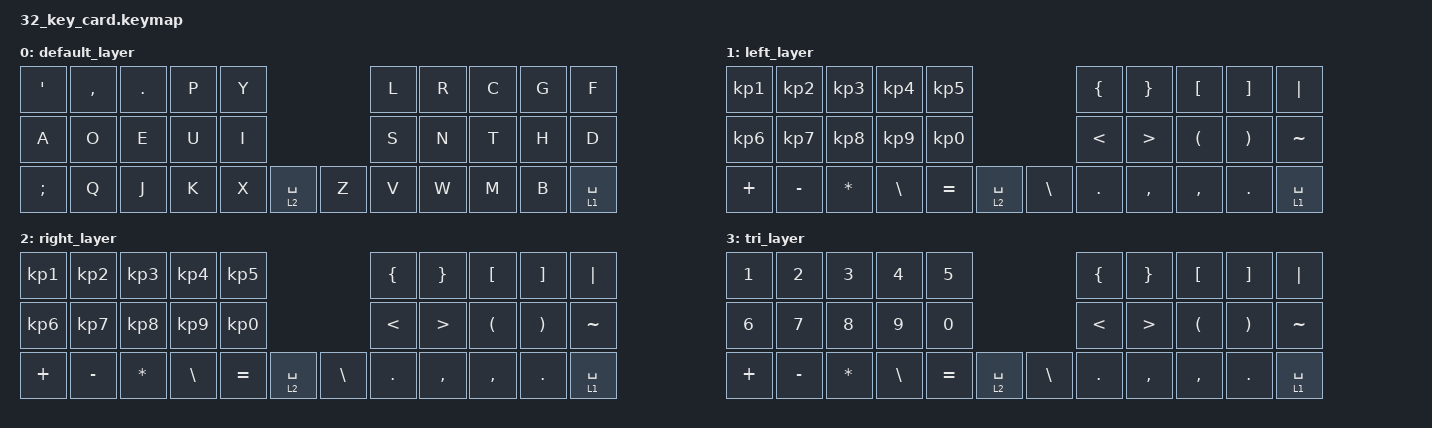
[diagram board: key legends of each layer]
#include <behaviors.dtsi>
#include <dt-bindings/zmk/bt.h>
#include <dt-bindings/zmk/keys.h>

&mt {
    flavor = "tap-preferred";
    tapping_term_ms = <200>;
};


/ {
    behaviors {    
        ht: hold_tap {
            label = "hold_tap";    
            compatible = "zmk,behavior-hold-tap";    
            #binding-cells = <2>;    
            flavor = "tap-preferred";    
            tapping-term-ms = <220>;    
            quick-tap-ms = <150>;    
            global-quick-tap;    
            bindings = <&kp>, <&kp>;    
        };    
    };    
    
    conditional_layers {    
        compatible = "zmk,conditional-layers";    
        tri_layer {    
            if-layers = <1 2>;    
            then-layer = <3>;    
        };    
    };    

  keymap {
    compatible = "zmk,keymap";

    default_layer {
      bindings = <
        //╭──────┬──────┬──────┬──────┬──────╮                          ╭────────┬──────────┬──────┬──────┬──────────╮
        //│  '   │  ,   │  .   │  p   │  y   │                          │  l     │    r     │  c   │  g   │   f      │
         &kp SINGLE_QUOTE  &kp COMMA  &kp DOT  &kp P  &kp Y                       &kp L    &kp R   &kp C  &kp G    &kp F
        //├──────┼──────┼──────┼──────┼──────┤                          ├────────┼──────────┼──────┼──────┼──────────┤
        //│  a   │  o   │  e   │  u   │  i   │                          │    s   │     n    │   t  │  h   │   d      │
           &kp A  &kp O  &kp E  &kp U  &kp I                             &kp S    &kp N   &kp T   &kp H    &kp D 
        //├──────┼──────┼──────┼──────┼──────┼─────────╮       ╭────────┼────────┼──────────┼──────┼──────┼──────────┤
        //│  ;   │  q   │  j   │  k   │  x   │         │       │   z    │    v   │    w     │  m   │  b   │  SPACE   │
         &kp SEMI  &kp Q  &kp J  &kp K  &kp X  &lt 2 SPACE      &kp Z     &kp V  &kp W       &kp M   &kp B   &lt 1 SPACE
        //╰──────┴──────┴──────┴──────┴──────┴─────────╯       ╰────────┴────────┴──────────┴──────┴──────┴──────────╯
        >;
    };
    left_layer {
      bindings = <
        //╭────────┬──────────┬─────────┬──────────┬─────────╮                            ╭────────┬──────────┬────────┬─────────┬───────────╮
        //│  1     │  2       │  3      │  4       │  5      │                            │  {     │    }     │  [     │  ]      │   |       │
          &kp KP_N1  &kp KP_N2  &kp KP_N3  &kp KP_N4  &kp KP_N5                           &kp LBRC  &kp RBRC  &kp LBKT  &kp RBKT  &kp PIPE
        //├────────┼──────────┼─────────┼──────────┼─────────┤                            ├────────┼──────────┼────────┼─────────┼───────────┤
        //│  6     │  7       │  8      │  9       │  0      │                            │    <   │     >    │   (    │  )      │   ~       │
          &kp KP_N6  &kp KP_N7  &kp KP_N8  &kp KP_N9  &kp KP_N0                           &kp LT     &kp GT    &kp LPAR   &kp RPAR  &kp TILDE
        //├────────┼──────────┼─────────┼──────────┼─────────┼─────────╮         ╭────────┼────────┼──────────┼────────┼─────────┼───────────┤
        //│  +     │  -       │  *      │  /       │  =      │         │         │   /    │    .   │    ,     │  ,     │  .      │  SPACE    │
           &kp PLUS  &kp MINUS  &kp STAR  &kp BSLH  &kp EQUAL  &lt 2 SPACE       &kp BSLH  &kp DOT  &kp COMMA  &kp COMMA  &kp DOT  &lt 1 SPACE
        //╰────────┴──────────┴─────────┴──────────┴─────────┴─────────╯         ╰────────┴────────┴──────────┴────────┴─────────┴───────────╯
        >;
    };
    right_layer {
      bindings = <
        //╭────────┬──────────┬─────────┬──────────┬─────────╮                            ╭────────┬──────────┬────────┬─────────┬───────────╮
        //│  1     │  2       │  3      │  4       │  5      │                            │  {     │    }     │  [     │  ]      │   |       │
            &kp KP_N1    &kp KP_N2      &kp KP_N3     &kp KP_N4      &kp KP_N5                                  &kp LBRC  &kp RBRC  &kp LBKT  &kp RBKT  &kp PIPE
        //├────────┼──────────┼─────────┼──────────┼─────────┤                            ├────────┼──────────┼────────┼─────────┼───────────┤
        //│  6     │  7       │  8      │  9       │  0      │                            │    <   │     >    │   (    │  )      │   ~       │
            &kp KP_N6    &kp KP_N7      &kp KP_N8     &kp KP_N9      &kp KP_N0                                  &kp LT  &kp GT     &kp LPAR  &kp RPAR  &kp TILDE
        //├────────┼──────────┼─────────┼──────────┼─────────┼─────────╮         ╭────────┼────────┼──────────┼────────┼─────────┼───────────┤
        //│  +     │  -       │  *      │  /       │  =      │         │         │   /    │    .   │    ,     │  ,     │  .      │  SPACE    │
           &kp PLUS  &kp MINUS  &kp STAR  &kp BSLH  &kp EQUAL  &lt 2 SPACE       &kp BSLH  &kp DOT  &kp COMMA  &kp COMMA  &kp DOT  &lt 1 SPACE
        //╰────────┴──────────┴─────────┴──────────┴─────────┴─────────╯         ╰────────┴────────┴──────────┴────────┴─────────┴───────────╯
        >;
    };
    tri_layer {
      bindings = <
        //╭────────┬──────────┬─────────┬──────────┬─────────╮                            ╭────────┬──────────┬────────┬─────────┬───────────╮
        //│  1     │  2       │  3      │  4       │  5      │                            │  {     │    }     │  [     │  ]      │   |       │
            &kp 1    &kp 2      &kp 3     &kp 4      &kp 5                                  &kp LBRC  &kp RBRC  &kp LBKT  &kp RBKT  &kp PIPE
        //├────────┼──────────┼─────────┼──────────┼─────────┤                            ├────────┼──────────┼────────┼─────────┼───────────┤
        //│  6     │  7       │  8      │  9       │  0      │                            │    <   │     >    │   (    │  )      │   ~       │
            &kp 6    &kp 7      &kp 8     &kp 9      &kp 0                                  &kp LT  &kp GT     &kp LPAR  &kp RPAR  &kp TILDE
        //├────────┼──────────┼─────────┼──────────┼─────────┼─────────╮         ╭────────┼────────┼──────────┼────────┼─────────┼───────────┤
        //│  +     │  -       │  *      │  /       │  =      │         │         │   /    │    .   │    ,     │  ,     │  .      │  SPACE    │
           &kp PLUS  &kp MINUS  &kp STAR  &kp BSLH  &kp EQUAL  &lt 2 SPACE        &kp BSLH  &kp DOT  &kp COMMA  &kp COMMA  &kp DOT  &lt 1 SPACE
        //╰────────┴──────────┴─────────┴──────────┴─────────┴─────────╯         ╰────────┴────────┴──────────┴────────┴─────────┴───────────╯
        >;
    };
  };
};
//&td &caps_word. Tap dance caps word for double tap. Hold for shift. Tap once for space?
